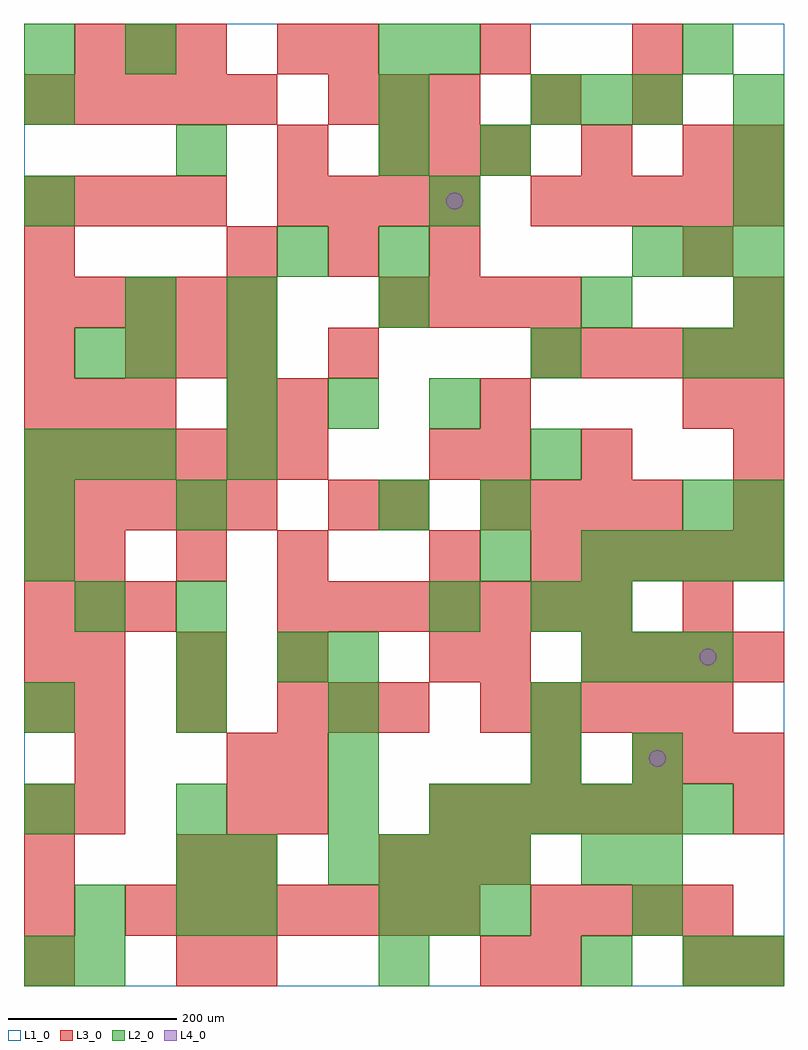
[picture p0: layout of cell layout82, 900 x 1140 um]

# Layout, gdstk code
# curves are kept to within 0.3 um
import gdstk
lib = gdstk.Library(unit=1e-6, precision=1e-09)
def R(c, l, rs):  # rectangles x0, y0, x1, y1
    for r in rs: c.add(gdstk.rectangle(r[:2], r[2:], *l))
def A(c, l, x, y, w, h, nx, ny, dx, dy):  # array of equal rectangles
    R(c, l, [(x+i*dx, y+j*dy, x+i*dx+w, y+j*dy+h) for i in range(nx) for j in range(ny)])
def P(c, l, *ps):  # polygons
    for p in ps: c.add(gdstk.Polygon(p, *l))
L1_0 = (1, 0)
L2_0 = (2, 0)
L3_0 = (3, 0)
L4_0 = (4, 0)

layout82 = lib.new_cell('layout82')
R(layout82, L1_0, [(0,0,900,1140)])
A(layout82, L2_0, 420, 60, 60, 60, 3, 1, 60, 0)
A(layout82, L2_0, 360, 120, 60, 60, 4, 1, 60, 0)
A(layout82, L2_0, 0, 180, 60, 60, 3, 2, 180, 120)
A(layout82, L2_0, 480, 180, 60, 60, 6, 1, 60, 0)
A(layout82, L2_0, 660, 360, 60, 60, 3, 1, 60, 0)
A(layout82, L2_0, 660, 480, 60, 60, 4, 1, 60, 0)
A(layout82, L2_0, 0, 600, 60, 60, 3, 1, 60, 0)
A(layout82, L2_0, 240, 660, 60, 60, 3, 1, 120, 0)
A(layout82, L2_0, 720, 840, 60, 60, 3, 1, 60, 0)
A(layout82, L2_0, 840, 900, 60, 60, 1, 3, 0, 60)
A(layout82, L2_0, 420, 960, 60, 60, 1, 3, 0, 60)
A(layout82, L2_0, 600, 1020, 60, 60, 3, 1, 60, 0)
R(layout82, L2_0, [(0,0,60,60), (60,0,120,60), (420,0,480,60), (660,0,720,60), (780,0,840,60), (840,0,900,60), (60,60,120,120), (180,60,240,120), (240,60,300,120), (720,60,780,120), (180,120,240,180), (240,120,300,180), (660,120,720,180), (720,120,780,180), (360,240,420,300), (600,240,660,300), (720,240,780,300), (600,300,660,360), (180,360,240,420), (300,360,360,420), (360,360,420,420), (60,420,120,480), (180,420,240,480), (480,420,540,480), (600,420,660,480), (660,420,720,480), (0,480,60,540), (540,480,600,540), (0,540,60,600), (180,540,240,600), (420,540,480,600), (540,540,600,600), (780,540,840,600), (840,540,900,600), (240,600,300,660), (600,600,660,660), (60,720,120,780), (120,720,180,780), (240,720,300,780), (600,720,660,780), (780,720,840,780), (840,720,900,780), (120,780,180,840), (240,780,300,840), (420,780,480,840), (660,780,720,840), (840,780,900,840), (300,840,360,900), (420,840,480,900), (0,900,60,960), (480,900,540,960), (180,960,240,1020), (540,960,600,1020), (0,1020,60,1080), (0,1080,60,1140), (120,1080,180,1140), (480,1080,540,1140), (780,1080,840,1140)])
A(layout82, L3_0, 0, 0, 60, 60, 1, 4, 0, 60)
A(layout82, L3_0, 780, 0, 60, 60, 1, 3, 0, 420)
A(layout82, L3_0, 120, 60, 60, 60, 7, 1, 60, 0)
A(layout82, L3_0, 600, 60, 60, 60, 4, 1, 60, 0)
A(layout82, L3_0, 240, 120, 60, 60, 1, 3, 0, 60)
A(layout82, L3_0, 420, 120, 60, 60, 3, 2, 60, 840)
A(layout82, L3_0, 480, 180, 60, 60, 5, 1, 60, 0)
A(layout82, L3_0, 720, 240, 60, 60, 3, 1, 60, 0)
A(layout82, L3_0, 60, 300, 60, 60, 3, 2, 120, 60)
A(layout82, L3_0, 540, 300, 60, 60, 5, 1, 60, 0)
A(layout82, L3_0, 480, 360, 60, 60, 1, 3, 0, 120)
A(layout82, L3_0, 660, 360, 60, 60, 4, 1, 60, 0)
A(layout82, L3_0, 0, 420, 60, 60, 3, 2, 60, 240)
A(layout82, L3_0, 300, 420, 60, 60, 7, 1, 60, 0)
A(layout82, L3_0, 60, 480, 60, 60, 3, 1, 120, 0)
A(layout82, L3_0, 600, 480, 60, 60, 5, 2, 60, 240)
A(layout82, L3_0, 0, 540, 60, 60, 5, 3, 60, 240)
A(layout82, L3_0, 540, 540, 60, 60, 4, 1, 60, 0)
A(layout82, L3_0, 840, 540, 60, 60, 1, 3, 0, 60)
A(layout82, L3_0, 0, 600, 60, 60, 6, 1, 60, 0)
A(layout82, L3_0, 300, 660, 60, 60, 3, 1, 240, 0)
A(layout82, L3_0, 120, 720, 60, 60, 3, 1, 60, 0)
A(layout82, L3_0, 420, 780, 60, 60, 4, 1, 60, 0)
A(layout82, L3_0, 240, 840, 60, 60, 3, 1, 120, 0)
A(layout82, L3_0, 0, 900, 60, 60, 4, 1, 60, 0)
A(layout82, L3_0, 300, 900, 60, 60, 4, 1, 60, 0)
A(layout82, L3_0, 600, 900, 60, 60, 5, 1, 60, 0)
A(layout82, L3_0, 360, 1020, 60, 60, 3, 1, 60, 0)
A(layout82, L3_0, 60, 1080, 60, 60, 3, 1, 60, 0)
A(layout82, L3_0, 360, 1080, 60, 60, 3, 1, 180, 0)
R(layout82, L3_0, [(180,0,240,60), (240,0,300,60), (540,0,600,60), (600,0,660,60), (840,0,900,60), (180,120,240,180), (60,180,120,240), (300,180,360,240), (840,180,900,240), (60,240,120,300), (300,240,360,300), (600,240,660,300), (0,300,60,360), (360,300,420,360), (420,300,480,360), (0,360,60,420), (540,360,600,420), (0,480,60,540), (360,540,420,600), (420,540,480,600), (540,600,600,660), (660,600,720,660), (240,660,300,720), (0,720,60,780), (360,720,420,780), (840,780,900,840), (0,840,60,900), (300,960,360,1020), (660,960,720,1020), (780,960,840,1020), (840,960,900,1020), (600,1020,660,1080), (720,1020,780,1080), (300,1080,360,1140)])
P(layout82, L4_0, [(520,930),(519.239,933.827),(517.071,937.071),(513.827,939.239),(510,940),(506.173,939.239),(502.929,937.071),(500.761,933.827),(500,930),(500.761,926.173),(502.929,922.929),(506.173,920.761),(510,920),(513.827,920.761),(517.071,922.929),(519.239,926.173)],
  [(760,270),(759.239,273.827),(757.071,277.071),(753.827,279.239),(750,280),(746.173,279.239),(742.929,277.071),(740.761,273.827),(740,270),(740.761,266.173),(742.929,262.929),(746.173,260.761),(750,260),(753.827,260.761),(757.071,262.929),(759.239,266.173)],
  [(820,390),(819.239,393.827),(817.071,397.071),(813.827,399.239),(810,400),(806.173,399.239),(802.929,397.071),(800.761,393.827),(800,390),(800.761,386.173),(802.929,382.929),(806.173,380.761),(810,380),(813.827,380.761),(817.071,382.929),(819.239,386.173)])

lib.write_gds('layout82.gds')
